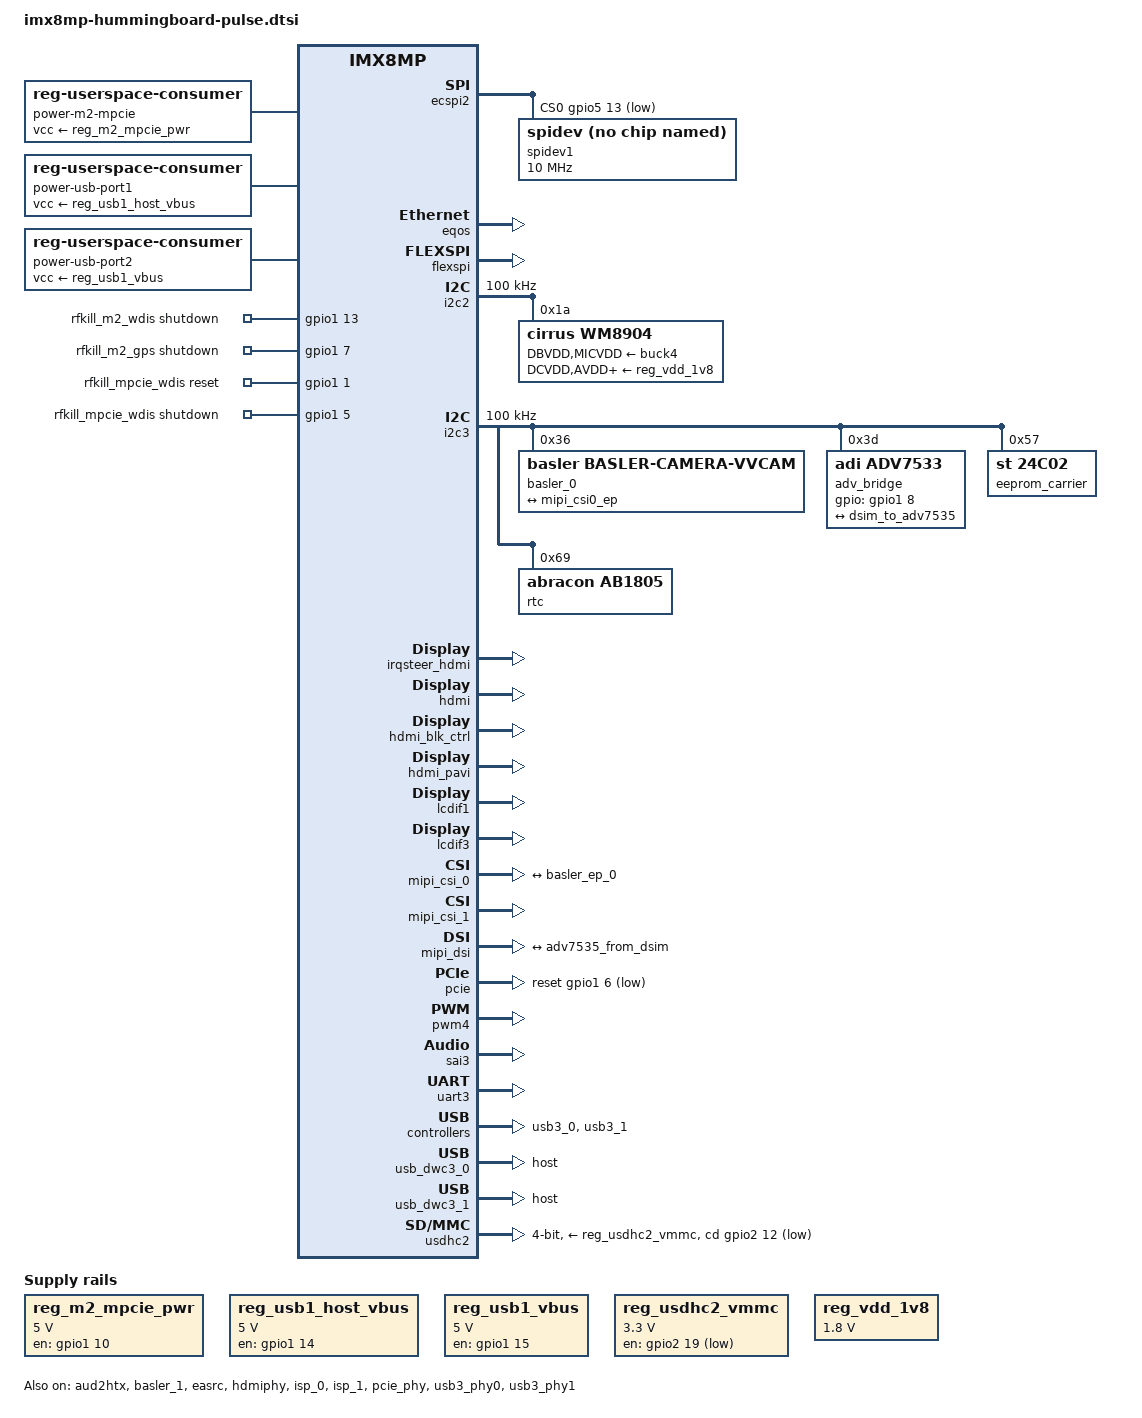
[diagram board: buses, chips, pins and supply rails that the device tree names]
// SPDX-License-Identifier: (GPL-2.0+ OR MIT)
/*
 * Copyright 2019 NXP
 */

#include <dt-bindings/usb/pd.h>
#include "imx8mp-sr-som.dtsi"

/ {
	leds {
		compatible = "gpio-leds";
		pinctrl-names = "default";
		pinctrl-0 = <&pinctrl_gpio_led>;

		/*status {
			label = "status";
			gpios = <&gpio4 22 0>;
			default-state = "on";
		};*/
	};

	power-m2-mpcie {
        	compatible = "reg-userspace-consumer";
        	regulator-name = "m2-mpcie-pwr-consumer";
		regulator-boot-on;
		regulator-supplies = "vcc";
        	vcc-supply = <&reg_m2_mpcie_pwr>;
        	comment = "m.2 and mpcie 3.3V connector switch";
    	};

	power-usb-port1 {
        	compatible = "reg-userspace-consumer";
        	regulator-name = "usb-port1-pwr-consumer";
		regulator-boot-on;
		regulator-supplies = "vcc";
        	vcc-supply = <&reg_usb1_host_vbus>;
        	comment = "USB Port1 vbus power switch";
    	};

	power-usb-port2 {
        	compatible = "reg-userspace-consumer";
        	regulator-name = "usb-port2-pwr-consumer";
		regulator-boot-on;
		regulator-supplies = "vcc";
        	vcc-supply = <&reg_usb1_vbus>;
        	comment = "USB Port2 vbus power switch";
    	};

	reg_m2_mpcie_pwr: regulator-m2-mpcie-pwr {
		compatible = "regulator-fixed";
		regulator-name = "m2-mpcie-pwr";
		pinctrl-names = "default";
		pinctrl-0 = <&pinctrl_m2_pwr>;
		regulator-min-microvolt = <5000000>;
		regulator-max-microvolt = <5000000>;
		gpio = <&gpio1 10 GPIO_ACTIVE_HIGH>;
		enable-active-high;
	};

	reg_usb1_host_vbus: regulator-usb1-host-vbus {
		compatible = "regulator-fixed";
		regulator-name = "usb1_host_vbus";
		pinctrl-names = "default";
		pinctrl-0 = <&pinctrl_usb1_host_vbus>;
		regulator-min-microvolt = <5000000>;
		regulator-max-microvolt = <5000000>;
		gpio = <&gpio1 14 GPIO_ACTIVE_HIGH>;
		enable-active-high;
	};

	reg_usb1_vbus: regulator-usb1-vbus {
		compatible = "regulator-fixed";
		regulator-name = "usb1_vbus";
		pinctrl-names = "default";
		pinctrl-0 = <&pinctrl_usb1_vbus>;
		regulator-min-microvolt = <5000000>;
		regulator-max-microvolt = <5000000>;
		gpio = <&gpio1 15 GPIO_ACTIVE_HIGH>;
		enable-active-high;
	};

	reg_usdhc2_vmmc: regulator-usdhc2 {
		compatible = "regulator-fixed";
		pinctrl-names = "default";
		pinctrl-0 = <&pinctrl_reg_usdhc2_vmmc>;
		regulator-name = "VSD_3V3";
		regulator-min-microvolt = <3300000>;
		regulator-max-microvolt = <3300000>;
		gpio = <&gpio2 19 GPIO_ACTIVE_LOW>;
		regulator-always-on;
	};

	reg_vdd_1v8: regulator-vdd-1v8 {
		compatible = "regulator-fixed";
		regulator-name = "VDD_1V8";
                vdd-3v3-supply = <&buck4>;
		regulator-min-microvolt = <1800000>;
		regulator-max-microvolt = <1800000>;
		regulator-always-on;
	};

// Enable this node for M.2 LTE modem rfkill support
	rfkill_m2_wdis {
		compatible = "rfkill-gpio";
		pinctrl-names = "default";
		pinctrl-0 = <&pinctrl_m2_rfkill>;
		rfkill-name = "m2_wdis";
		rfkill-type = <5>;
		shutdown-gpio = <&gpio1 13 GPIO_ACTIVE_HIGH>;
		status = "okay";
	};

	rfkill_m2_gps {
		compatible = "rfkill-gpio";
		pinctrl-names = "default";
		pinctrl-0 = <&pinctrl_m2_gps_rfkill>;
		rfkill-name = "m2_gps";
		rfkill-type = <6>;
		shutdown-gpio = <&gpio1 7 GPIO_ACTIVE_HIGH>;
		status = "okay";
	};

	rfkill_mpcie_wdis {
		compatible = "rfkill-gpio";
		pinctrl-names = "default";
		pinctrl-0 = <&pinctrl_mpcie_rfkill>;
		rfkill-name = "mpcie_wdis";
		rfkill-type = <5>;
		reset-gpio = <&gpio1 1 GPIO_ACTIVE_HIGH>;
		shutdown-gpio = <&gpio1 5 GPIO_ACTIVE_HIGH>;
		status = "okay";
	};

	sound-hdmi {
		compatible = "fsl,imx-audio-hdmi";
		model = "audio-hdmi";
		audio-cpu = <&aud2htx>;
		hdmi-out;
		constraint-rate = <44100>,
				<88200>,
				<176400>,
				<32000>,
				<48000>,
				<96000>,
				<192000>;
		status = "okay";
	};

	sound-wm8904 {
		compatible = "simple-audio-card";
		simple-audio-card,name = "wm8904-audio";
		simple-audio-card,format = "i2s";
		simple-audio-card,frame-master = <&sound_wm8904_cpu>;
		simple-audio-card,bitclock-master = <&sound_wm8904_cpu>;
		simple-audio-card,widgets =
			"Headphone", "Headphone Jack",
			"Microphone", "Headset Microphone";
		simple-audio-card,routing =
			"Headphone Jack", "HPOUTL",
			"Headphone Jack", "HPOUTR",
			"Headset Microphone", "MICBIAS",
			"IN2R", "Headset Microphone";

		sound_wm8904_cpu: simple-audio-card,cpu {
			sound-dai = <&sai3>;
			dai-tdm-slot-num = <2>;
			dai-tdm-slot-width = <32>;
		};

		sound_wm8904_codec: simple-audio-card,codec {
			sound-dai = <&wm8904>;
		};
	};
};

&aud2htx {
	status = "okay";
};

&basler_1 {
        status = "okay";
};

&easrc {
	fsl,asrc-rate  = <48000>;
	status = "okay";
};

&ecspi2 {
	#address-cells = <1>;
	#size-cells = <0>;
	fsl,spi-num-chipselects = <1>;
	pinctrl-names = "default";
	pinctrl-0 = <&pinctrl_ecspi2 &pinctrl_ecspi2_cs>;
	cs-gpios = <&gpio5 13 GPIO_ACTIVE_LOW>;
	status = "okay";

	spidev1: spi@0 {
		reg = <0>;
		compatible = "linux,spidev";
		spi-max-frequency = <10000000>;
	};
};

/*eth0*/
&eqos {
	status = "okay";
};

&flexspi {
	pinctrl-names = "default";
	pinctrl-0 = <&pinctrl_flexspi0>;
	status = "okay";
};

&i2c2 {
	clock-frequency = <100000>;
	pinctrl-names = "default";
	pinctrl-0 = <&pinctrl_i2c2>;
	status = "okay";

	/*sound codec*/
	wm8904: codec@1a {
		#sound-dai-cells = <0>;
		compatible = "cirrus,wm8904", "wlf,wm8904";
		reg = <0x1a>;
		DBVDD-supply = <&buck4>;
		MICVDD-supply = <&buck4>;
		DCVDD-supply = <&reg_vdd_1v8>;
		AVDD-supply = <&reg_vdd_1v8>;
		CPVDD-supply = <&reg_vdd_1v8>;
		clocks = <&clk IMX8MP_CLK_SAI3>;
		clock-names = "mclk";
		status = "okay";
	};
};

&i2c3 {
	clock-frequency = <100000>;
	pinctrl-names = "default";
	pinctrl-0 = <&pinctrl_i2c3>;
	status = "okay";

	basler_0: basler_camera_vvcam@36 {
		compatible = "basler,basler-camera-vvcam", "basler-camera-vvcam";
		reg = <0x36>;
		csi_id = <0x00>;
		status = "okay";

		port {
			basler_ep_0: endpoint {
				data-lanes = <1 2 3 4>;
				clock-lanes = <0>;
				link-frequencies = /bits/ 64 <750000000>;

				max-lane-frequency = /bits/ 64 <750000000>;
				max-pixel-frequency = /bits/ 64 <266000000>;
				max-data-rate = /bits/ 64 <0>;

				remote-endpoint = <&mipi_csi0_ep>;
			};
		};
	};

	adv_bridge: adv7535@3d {
		compatible = "adi,adv7533";
		reg = <0x3d>;
		pinctrl-names = "default";
		pinctrl-0 = <&pinctrl_mipi_dsi_en>;
		adi,addr-cec = <0x3c>;
		adi,addr-edid = <0x3b>;
		adi,dsi-lanes = <4>;
		gpio = <&gpio1 8 GPIO_ACTIVE_HIGH>;
		status = "okay";

		port {
			adv7535_from_dsim: endpoint {
				remote-endpoint = <&dsim_to_adv7535>;
			};
		};
	};

	eeprom_carrier: eeprom@57 {
		compatible = "st,24c02", "atmel,24c02";
		reg = <0x57>;
		pagesize = <8>;
	};

	rtc: rtc@69 {
		compatible = "abracon,ab1805";
		reg = <0x69>;
		abracon,tc-diode = "schottky";
		abracon,tc-resistor = <3>;
	};
};

&irqsteer_hdmi {
	status = "okay";
};

&hdmi {
	status = "okay";
};

&hdmi_blk_ctrl {
	status = "okay";
};

&hdmi_pavi {
	status = "okay";
};

&hdmiphy {
	status = "okay";
};

&isp_0 {
	status = "okay";
};

&isp_1 {
	status = "okay";
};

/*micro HDMI*/
&lcdif1 {
	status = "okay";
};

/*HDMI*/
&lcdif3 {
	status = "okay";
};

&micfil {
	pinctrl-names = "default";
	pinctrl-0 = <&pinctrl_pdm>;
	assigned-clocks = <&clk IMX8MP_CLK_PDM>;
	assigned-clock-parents = <&clk IMX8MP_AUDIO_PLL1_OUT>;
	assigned-clock-rates = <196608000>;
	status = "disabled";
};

&mipi_csi_0 {
	#address-cells = <1>;
	#size-cells = <0>;
	clock-frequency = <266000000>;
	assigned-clock-parents = <&clk IMX8MP_SYS_PLL1_266M>;
	assigned-clock-rates = <266000000>;
	status = "okay";

	port@0 {
		reg = <0>;
		mipi_csi0_ep: endpoint {
			remote-endpoint = <&basler_ep_0>;
			data-lanes = <4>;
			csis-hs-settle = <16>;
		};
	};

};

&mipi_csi_1 {
	status = "okay";
};

&mipi_dsi {
	status = "okay";

	port@1 {
		dsim_to_adv7535: endpoint {
			remote-endpoint = <&adv7535_from_dsim>;
			attach-bridge;
		};
	};
};

&pcie{
	pinctrl-names = "default";
	pinctrl-0 = <&pinctrl_pcie>;
	reset-gpio = <&gpio1 6 GPIO_ACTIVE_LOW>;
	ext_osc = <0>;
	clocks = <&clk IMX8MP_CLK_HSIO_ROOT>,
		 <&clk IMX8MP_CLK_PCIE_AUX>,
		 <&clk IMX8MP_CLK_HSIO_AXI>,
		 <&clk IMX8MP_CLK_PCIE_ROOT>;
	clock-names = "pcie", "pcie_aux", "pcie_phy", "pcie_bus";
	assigned-clocks = <&clk IMX8MP_CLK_HSIO_AXI>,
			  <&clk IMX8MP_CLK_PCIE_AUX>;
	assigned-clock-rates = <500000000>, <10000000>;
	assigned-clock-parents = <&clk IMX8MP_SYS_PLL2_500M>,
				 <&clk IMX8MP_SYS_PLL2_50M>;
	status = "okay";
};

&pcie_phy{
	ext_osc = <0>;
	status = "okay";
};

&pwm4 {
	pinctrl-names = "default";
	pinctrl-0 = <&pinctrl_pwm4>;
	status = "okay";
};

&sai3 {
	#sound-dai-cells = <0>;
	pinctrl-names = "default";
	pinctrl-0 = <&pinctrl_sai3>;
        assigned-clocks = <&clk IMX8MP_CLK_SAI3>;
        assigned-clock-parents = <&clk IMX8MP_AUDIO_PLL1_OUT>;
        assigned-clock-rates = <12288000>;
        clocks = <&audio_blk_ctrl IMX8MP_CLK_AUDIO_BLK_CTRL_SAI3_IPG>, <&clk IMX8MP_CLK_DUMMY>,
                 <&audio_blk_ctrl IMX8MP_CLK_AUDIO_BLK_CTRL_SAI3_MCLK1>, <&clk IMX8MP_CLK_DUMMY>,
                 <&clk IMX8MP_CLK_DUMMY>;
        clock-names = "bus", "mclk0", "mclk1", "mclk2", "mclk3";
        fsl,sai-mclk-direction-output;
	status = "okay";
};

&sdma2 {
        status = "okay";
};

&uart3 {
	pinctrl-names = "default";
	pinctrl-0 = <&pinctrl_uart3>;
	assigned-clocks = <&clk IMX8MP_CLK_UART3>;
	assigned-clock-parents = <&clk IMX8MP_SYS_PLL1_80M>;
	fsl,uart-has-rtscts;
	status = "okay";
};

&usb3_phy0 {
        fsl,phy-tx-vref-tune = <0xe>;
        fsl,phy-tx-preemp-amp-tune = <3>;
        fsl,phy-tx-vboost-level = <5>;
        fsl,phy-comp-dis-tune = <7>;
        fsl,pcs-tx-deemph-3p5db = <0x21>;
        fsl,phy-pcs-tx-swing-full = <0x7f>;
	status = "okay";
};

&usb3_0 {
	status = "okay";
};

&usb_dwc3_0 {
	dr_mode = "host";
        snps,dis-u1-entry-quirk;
        snps,dis-u2-entry-quirk;
	status = "okay";
};

&usb3_phy1 {
        fsl,phy-tx-preemp-amp-tune = <3>;
        fsl,phy-tx-vref-tune = <0xb>;
	status = "okay";
};

&usb3_1 {
	status = "okay";
};

&usb_dwc3_1 {
	dr_mode = "host";
	snps,parkmode-disable-ss-quirk;
	status = "okay";
};

&usdhc2 {
	assigned-clocks = <&clk IMX8MP_CLK_USDHC2>;
	assigned-clock-rates = <400000000>;
	pinctrl-names = "default", "state_100mhz", "state_200mhz";
	pinctrl-0 = <&pinctrl_usdhc2>, <&pinctrl_usdhc2_gpio>;
	pinctrl-1 = <&pinctrl_usdhc2_100mhz>, <&pinctrl_usdhc2_gpio>;
	pinctrl-2 = <&pinctrl_usdhc2_200mhz>, <&pinctrl_usdhc2_gpio>;
	cd-gpios = <&gpio2 12 GPIO_ACTIVE_LOW>;
	vmmc-supply = <&reg_usdhc2_vmmc>;
	voltage-ranges = <1800 1800 3300 3300>;
	bus-width = <4>;
	status = "okay";
};

&iomuxc {
	pinctrl-names = "default";
	pinctrl-0 = <&pinctrl_hog>;

	pinctrl_ecspi2: ecspi2grp {
		fsl,pins = <
			MX8MP_IOMUXC_ECSPI2_SCLK__ECSPI2_SCLK		0x82
			MX8MP_IOMUXC_ECSPI2_MOSI__ECSPI2_MOSI		0x82
			MX8MP_IOMUXC_ECSPI2_MISO__ECSPI2_MISO		0x82
		>;
	};

	pinctrl_ecspi2_cs: ecspi2cs {
		fsl,pins = <
			MX8MP_IOMUXC_ECSPI2_SS0__GPIO5_IO13		0x40000
		>;
	};

	pinctrl_gpio_led: gpioledgrp {
		fsl,pins = <
			MX8MP_IOMUXC_SAI2_RXC__GPIO4_IO22		0x19
			MX8MP_IOMUXC_SAI2_RXFS__GPIO4_IO21		0x19
			MX8MP_IOMUXC_SAI2_RXD0__GPIO4_IO23		0x19
			MX8MP_IOMUXC_SAI2_TXFS__GPIO4_IO24		0x19
			MX8MP_IOMUXC_UART4_RXD__GPIO5_IO28		0x19
		>;
	};

	pinctrl_hog: hoggrp {
		fsl,pins = <
			MX8MP_IOMUXC_HDMI_DDC_SCL__HDMIMIX_HDMI_SCL	0x400001c3
			MX8MP_IOMUXC_HDMI_DDC_SDA__HDMIMIX_HDMI_SDA	0x400001c3
			MX8MP_IOMUXC_HDMI_HPD__HDMIMIX_HDMI_HPD		0x40000019
			MX8MP_IOMUXC_HDMI_CEC__HDMIMIX_HDMI_CEC		0x40000019
		>;
	};

	pinctrl_i2c2: i2c2grp {
		fsl,pins = <
			MX8MP_IOMUXC_I2C2_SCL__I2C2_SCL			0x400001c3
			MX8MP_IOMUXC_I2C2_SDA__I2C2_SDA			0x400001c3
		>;
	};

	pinctrl_i2c3: i2c3grp {
		fsl,pins = <
			MX8MP_IOMUXC_I2C3_SCL__I2C3_SCL			0x400001c3
			MX8MP_IOMUXC_I2C3_SDA__I2C3_SDA			0x400001c3
		>;
	};

	pinctrl_flexspi0: flexspi0grp {
		fsl,pins = <
			MX8MP_IOMUXC_NAND_ALE__FLEXSPI_A_SCLK		0x1c2
			MX8MP_IOMUXC_NAND_CE0_B__FLEXSPI_A_SS0_B	0x82
			MX8MP_IOMUXC_NAND_DATA00__FLEXSPI_A_DATA00	0x82
			MX8MP_IOMUXC_NAND_DATA01__FLEXSPI_A_DATA01	0x82
			MX8MP_IOMUXC_NAND_DATA03__FLEXSPI_A_DATA03	0x82
		>;
	};

	pinctrl_m2_rfkill: m2_rfkill_grp {
		fsl,pins = <
			MX8MP_IOMUXC_GPIO1_IO13__GPIO1_IO13		0x19
		>;
	};

	pinctrl_m2_gps_rfkill: m2_gps_rfkill_grp {
		fsl,pins = <
			MX8MP_IOMUXC_GPIO1_IO07__GPIO1_IO07		0x19
		>;
	};

	pinctrl_m2_pwr: mp2_pwr_grp {
		fsl,pins = <
			MX8MP_IOMUXC_GPIO1_IO10__GPIO1_IO10		0x19
		>;
	};

	pinctrl_mpcie_rfkill: mpcie_rfkill_grp {
		fsl,pins = <
			MX8MP_IOMUXC_GPIO1_IO01__GPIO1_IO01		0x19
			MX8MP_IOMUXC_GPIO1_IO05__GPIO1_IO05		0x19
		>;
	};

	pinctrl_mipi_dsi_en: mipi_dsi_en {
		fsl,pins = <
			MX8MP_IOMUXC_GPIO1_IO08__GPIO1_IO08		0x16
		>;
	};

        pinctrl_pcie: pciegrp {
                fsl,pins = <
						MX8MP_IOMUXC_GPIO1_IO06__GPIO1_IO06		0x19
                >;
        };

	pinctrl_pdm: pdmgrp {
		fsl,pins = <
			MX8MP_IOMUXC_SAI5_RXC__AUDIOMIX_PDM_CLK			0xd6
			MX8MP_IOMUXC_SAI5_RXD0__AUDIOMIX_PDM_BIT_STREAM00	0xd6
			MX8MP_IOMUXC_SAI5_RXD1__AUDIOMIX_PDM_BIT_STREAM01	0xd6
			MX8MP_IOMUXC_SAI5_RXD2__AUDIOMIX_PDM_BIT_STREAM02	0xd6
			MX8MP_IOMUXC_SAI5_RXD3__AUDIOMIX_PDM_BIT_STREAM03	0xd6
		>;
	};

	pinctrl_pwm4: pwm4grp {
		fsl,pins = <
			MX8MP_IOMUXC_SAI5_RXFS__PWM4_OUT		0x116
		>;
	};

	pinctrl_reg_usdhc2_vmmc: regusdhc2vmmcgrp {
		fsl,pins = <
			MX8MP_IOMUXC_SD2_RESET_B__GPIO2_IO19		0x40
		>;
	};

	pinctrl_sai3: sai3grp {
		fsl,pins = <
			MX8MP_IOMUXC_SAI3_MCLK__AUDIOMIX_SAI3_MCLK	0xd6
			MX8MP_IOMUXC_SAI3_TXFS__AUDIOMIX_SAI3_TX_SYNC	0xd6
			MX8MP_IOMUXC_SAI3_TXC__AUDIOMIX_SAI3_TX_BCLK	0xd6
			MX8MP_IOMUXC_SAI3_TXD__AUDIOMIX_SAI3_TX_DATA00	0xd6
			MX8MP_IOMUXC_SAI3_RXD__AUDIOMIX_SAI3_RX_DATA00	0xd6
		>;
	};

	pinctrl_uart3: uart3grp {
		fsl,pins = <
			MX8MP_IOMUXC_ECSPI1_SCLK__UART3_DCE_RX		0x140
			MX8MP_IOMUXC_ECSPI1_MOSI__UART3_DCE_TX		0x140
			MX8MP_IOMUXC_ECSPI1_SS0__UART3_DCE_RTS		0x140
			MX8MP_IOMUXC_ECSPI1_MISO__UART3_DCE_CTS		0x140
		>;
	};

	pinctrl_usb1_host_vbus: usb1hostgrp {
		fsl,pins = <
			MX8MP_IOMUXC_GPIO1_IO14__GPIO1_IO14		0x19
		>;
	};

	pinctrl_usb1_vbus: usb1grp {
		fsl,pins = <
			MX8MP_IOMUXC_GPIO1_IO15__GPIO1_IO15		0x19
		>;
	};

	pinctrl_usdhc2: usdhc2grp {
		fsl,pins = <
			MX8MP_IOMUXC_SD2_CLK__USDHC2_CLK		0x190
			MX8MP_IOMUXC_SD2_CMD__USDHC2_CMD		0x1d0
			MX8MP_IOMUXC_SD2_DATA0__USDHC2_DATA0		0x1d0
			MX8MP_IOMUXC_SD2_DATA1__USDHC2_DATA1		0x1d0
			MX8MP_IOMUXC_SD2_DATA2__USDHC2_DATA2		0x1d0
			MX8MP_IOMUXC_SD2_DATA3__USDHC2_DATA3		0x1d0
			MX8MP_IOMUXC_GPIO1_IO04__USDHC2_VSELECT		0xc1
		>;
	};

	pinctrl_usdhc2_100mhz: usdhc2grp-100mhz {
		fsl,pins = <
			MX8MP_IOMUXC_SD2_CLK__USDHC2_CLK		0x194
			MX8MP_IOMUXC_SD2_CMD__USDHC2_CMD		0x1d4
			MX8MP_IOMUXC_SD2_DATA0__USDHC2_DATA0		0x1d4
			MX8MP_IOMUXC_SD2_DATA1__USDHC2_DATA1		0x1d4
			MX8MP_IOMUXC_SD2_DATA2__USDHC2_DATA2		0x1d4
			MX8MP_IOMUXC_SD2_DATA3__USDHC2_DATA3		0x1d4
			MX8MP_IOMUXC_GPIO1_IO04__USDHC2_VSELECT 	0xc1
		>;
	};

	pinctrl_usdhc2_200mhz: usdhc2grp-200mhz {
		fsl,pins = <
			MX8MP_IOMUXC_SD2_CLK__USDHC2_CLK		0x196
			MX8MP_IOMUXC_SD2_CMD__USDHC2_CMD		0x1d6
			MX8MP_IOMUXC_SD2_DATA0__USDHC2_DATA0		0x1d6
			MX8MP_IOMUXC_SD2_DATA1__USDHC2_DATA1		0x1d6
			MX8MP_IOMUXC_SD2_DATA2__USDHC2_DATA2		0x1d6
			MX8MP_IOMUXC_SD2_DATA3__USDHC2_DATA3		0x1d6
			MX8MP_IOMUXC_GPIO1_IO04__USDHC2_VSELECT 	0xc1
		>;
	};

	pinctrl_usdhc2_gpio: usdhc2grp-gpio {
		fsl,pins = <
			MX8MP_IOMUXC_SD2_CD_B__GPIO2_IO12 		0x1c4
		>;
	};
};
